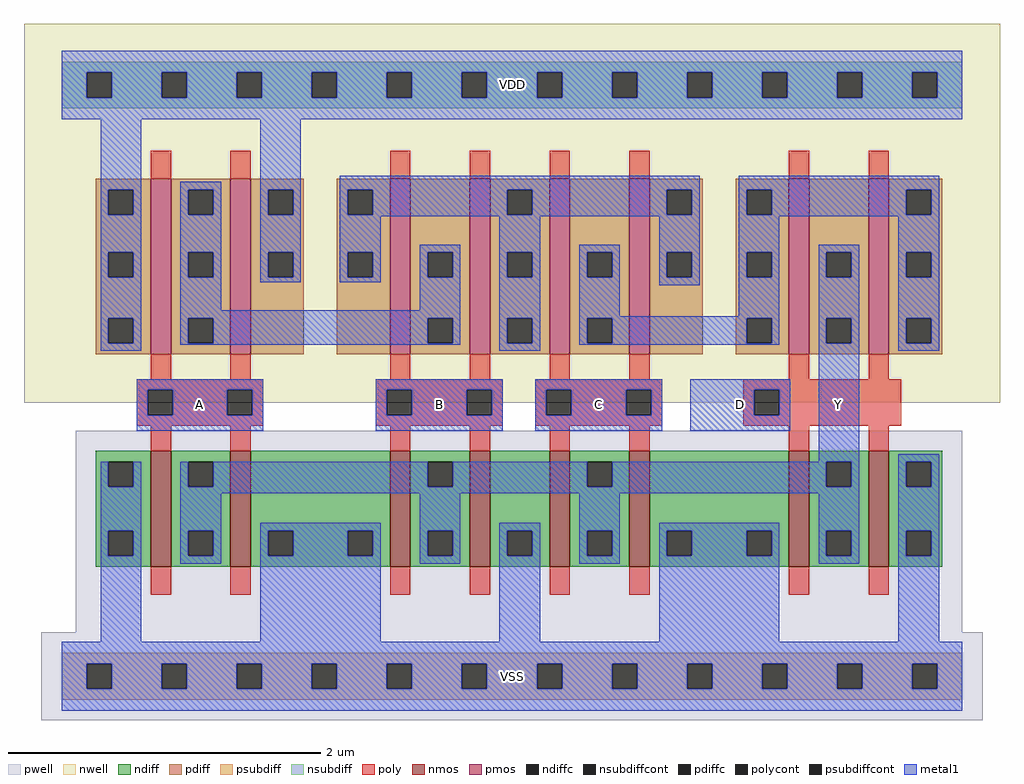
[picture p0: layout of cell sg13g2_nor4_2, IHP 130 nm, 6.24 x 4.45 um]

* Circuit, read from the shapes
.subckt sg13g2_nor4_2 D B C Y VDD VSS A
XM1 Y A VSS VSS sg13_lv_nmos w=0.74u l=0.13u m=2
XM2 Y B VSS VSS sg13_lv_nmos w=0.74u l=0.13u m=2
XM3 Y C VSS VSS sg13_lv_nmos w=0.74u l=0.13u m=2
XM4 Y D VSS VSS sg13_lv_nmos w=0.74u l=0.13u m=2
XM5 n1 A VDD VDD sg13_lv_pmos w=1.12u l=0.13u m=2
XM6 n1 B n2 VDD sg13_lv_pmos w=1.12u l=0.13u m=2
XM7 n3 C n2 VDD sg13_lv_pmos w=1.12u l=0.13u m=2
XM8 Y D n3 VDD sg13_lv_pmos w=1.12u l=0.13u m=2
.ends

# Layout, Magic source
magic
tech ihp-sg13g2
<< nwell >>
rect -24 175 600 417
<< pwell >>
rect 9 28 576 157
rect -13 -28 589 28
<< nmos >>
rect 57 70 70 144
rect 108 70 121 144
rect 210 70 223 144
rect 261 70 274 144
rect 312 70 325 144
rect 363 70 376 144
rect 465 70 478 144
rect 516 70 529 144
<< pmos >>
rect 57 206 70 318
rect 108 206 121 318
rect 210 206 223 318
rect 261 206 274 318
rect 312 206 325 318
rect 363 206 376 318
rect 465 206 478 318
rect 516 206 529 318
<< ndiff >>
rect 22 137 57 144
rect 22 121 30 137
rect 46 121 57 137
rect 22 93 57 121
rect 22 77 30 93
rect 46 77 57 93
rect 22 70 57 77
rect 70 137 108 144
rect 70 121 81 137
rect 97 121 108 137
rect 70 93 108 121
rect 70 77 81 93
rect 97 77 108 93
rect 70 70 108 77
rect 121 93 210 144
rect 121 77 132 93
rect 148 77 183 93
rect 199 77 210 93
rect 121 70 210 77
rect 223 137 261 144
rect 223 121 234 137
rect 250 121 261 137
rect 223 93 261 121
rect 223 77 234 93
rect 250 77 261 93
rect 223 70 261 77
rect 274 93 312 144
rect 274 77 285 93
rect 301 77 312 93
rect 274 70 312 77
rect 325 137 363 144
rect 325 121 336 137
rect 352 121 363 137
rect 325 93 363 121
rect 325 77 336 93
rect 352 77 363 93
rect 325 70 363 77
rect 376 93 465 144
rect 376 77 387 93
rect 403 77 438 93
rect 454 77 465 93
rect 376 70 465 77
rect 478 137 516 144
rect 478 121 489 137
rect 505 121 516 137
rect 478 93 516 121
rect 478 77 489 93
rect 505 77 516 93
rect 478 70 516 77
rect 529 137 563 144
rect 529 121 540 137
rect 556 121 563 137
rect 529 93 563 121
rect 529 77 540 93
rect 556 77 563 93
rect 529 70 563 77
<< pdiff >>
rect 22 311 57 318
rect 22 295 30 311
rect 46 295 57 311
rect 22 271 57 295
rect 22 255 30 271
rect 46 255 57 271
rect 22 229 57 255
rect 22 213 30 229
rect 46 213 57 229
rect 22 206 57 213
rect 70 311 108 318
rect 70 295 81 311
rect 97 295 108 311
rect 70 271 108 295
rect 70 255 81 271
rect 97 255 108 271
rect 70 229 108 255
rect 70 213 81 229
rect 97 213 108 229
rect 70 206 108 213
rect 121 311 155 318
rect 121 295 132 311
rect 148 295 155 311
rect 121 271 155 295
rect 121 255 132 271
rect 148 255 155 271
rect 121 206 155 255
rect 176 311 210 318
rect 176 295 183 311
rect 199 295 210 311
rect 176 271 210 295
rect 176 255 183 271
rect 199 255 210 271
rect 176 206 210 255
rect 223 271 261 318
rect 223 255 234 271
rect 250 255 261 271
rect 223 229 261 255
rect 223 213 234 229
rect 250 213 261 229
rect 223 206 261 213
rect 274 311 312 318
rect 274 295 285 311
rect 301 295 312 311
rect 274 271 312 295
rect 274 255 285 271
rect 301 255 312 271
rect 274 229 312 255
rect 274 213 285 229
rect 301 213 312 229
rect 274 206 312 213
rect 325 271 363 318
rect 325 255 336 271
rect 352 255 363 271
rect 325 229 363 255
rect 325 213 336 229
rect 352 213 363 229
rect 325 206 363 213
rect 376 311 410 318
rect 376 295 387 311
rect 403 295 410 311
rect 376 271 410 295
rect 376 255 387 271
rect 403 255 410 271
rect 376 206 410 255
rect 431 311 465 318
rect 431 295 438 311
rect 454 295 465 311
rect 431 271 465 295
rect 431 255 438 271
rect 454 255 465 271
rect 431 229 465 255
rect 431 213 438 229
rect 454 213 465 229
rect 431 206 465 213
rect 478 271 516 318
rect 478 255 489 271
rect 505 255 516 271
rect 478 229 516 255
rect 478 213 489 229
rect 505 213 516 229
rect 478 206 516 213
rect 529 311 563 318
rect 529 295 540 311
rect 556 295 563 311
rect 529 271 563 295
rect 529 255 540 271
rect 556 255 563 271
rect 529 229 563 255
rect 529 213 540 229
rect 556 213 563 229
rect 529 206 563 213
<< ndiffc >>
rect 30 121 46 137
rect 30 77 46 93
rect 81 121 97 137
rect 81 77 97 93
rect 132 77 148 93
rect 183 77 199 93
rect 234 121 250 137
rect 234 77 250 93
rect 285 77 301 93
rect 336 121 352 137
rect 336 77 352 93
rect 387 77 403 93
rect 438 77 454 93
rect 489 121 505 137
rect 489 77 505 93
rect 540 121 556 137
rect 540 77 556 93
<< pdiffc >>
rect 30 295 46 311
rect 30 255 46 271
rect 30 213 46 229
rect 81 295 97 311
rect 81 255 97 271
rect 81 213 97 229
rect 132 295 148 311
rect 132 255 148 271
rect 183 295 199 311
rect 183 255 199 271
rect 234 255 250 271
rect 234 213 250 229
rect 285 295 301 311
rect 285 255 301 271
rect 285 213 301 229
rect 336 255 352 271
rect 336 213 352 229
rect 387 295 403 311
rect 387 255 403 271
rect 438 295 454 311
rect 438 255 454 271
rect 438 213 454 229
rect 489 255 505 271
rect 489 213 505 229
rect 540 295 556 311
rect 540 255 556 271
rect 540 213 556 229
<< psubdiff >>
rect 0 8 576 15
rect 0 -8 16 8
rect 32 -8 64 8
rect 80 -8 112 8
rect 128 -8 160 8
rect 176 -8 208 8
rect 224 -8 256 8
rect 272 -8 304 8
rect 320 -8 352 8
rect 368 -8 400 8
rect 416 -8 448 8
rect 464 -8 496 8
rect 512 -8 544 8
rect 560 -8 576 8
rect 0 -15 576 -8
<< nsubdiff >>
rect 0 386 576 393
rect 0 370 16 386
rect 32 370 64 386
rect 80 370 112 386
rect 128 370 160 386
rect 176 370 208 386
rect 224 370 256 386
rect 272 370 304 386
rect 320 370 352 386
rect 368 370 400 386
rect 416 370 448 386
rect 464 370 496 386
rect 512 370 544 386
rect 560 370 576 386
rect 0 363 576 370
<< psubdiffcont >>
rect 16 -8 32 8
rect 64 -8 80 8
rect 112 -8 128 8
rect 160 -8 176 8
rect 208 -8 224 8
rect 256 -8 272 8
rect 304 -8 320 8
rect 352 -8 368 8
rect 400 -8 416 8
rect 448 -8 464 8
rect 496 -8 512 8
rect 544 -8 560 8
<< nsubdiffcont >>
rect 16 370 32 386
rect 64 370 80 386
rect 112 370 128 386
rect 160 370 176 386
rect 208 370 224 386
rect 256 370 272 386
rect 304 370 320 386
rect 352 370 368 386
rect 400 370 416 386
rect 448 370 464 386
rect 496 370 512 386
rect 544 370 560 386
<< poly >>
rect 57 318 70 336
rect 108 318 121 336
rect 210 318 223 336
rect 261 318 274 336
rect 312 318 325 336
rect 363 318 376 336
rect 465 318 478 336
rect 516 318 529 336
rect 57 190 70 206
rect 108 190 121 206
rect 210 190 223 206
rect 261 190 274 206
rect 312 190 325 206
rect 363 190 376 206
rect 465 190 478 206
rect 516 190 529 206
rect 48 183 129 190
rect 48 167 55 183
rect 71 167 106 183
rect 122 167 129 183
rect 48 160 129 167
rect 201 183 282 190
rect 201 167 208 183
rect 224 167 259 183
rect 275 167 282 183
rect 201 160 282 167
rect 303 183 384 190
rect 303 167 310 183
rect 326 167 361 183
rect 377 167 384 183
rect 303 160 384 167
rect 436 183 537 190
rect 436 167 443 183
rect 459 167 537 183
rect 436 160 537 167
rect 57 144 70 160
rect 108 144 121 160
rect 210 144 223 160
rect 261 144 274 160
rect 312 144 325 160
rect 363 144 376 160
rect 465 144 478 160
rect 516 144 529 160
rect 57 52 70 70
rect 108 52 121 70
rect 210 52 223 70
rect 261 52 274 70
rect 312 52 325 70
rect 363 52 376 70
rect 465 52 478 70
rect 516 52 529 70
<< polycont >>
rect 55 167 71 183
rect 106 167 122 183
rect 208 167 224 183
rect 259 167 275 183
rect 310 167 326 183
rect 361 167 377 183
rect 443 167 459 183
<< metal1 >>
rect 0 386 576 400
rect 0 370 16 386
rect 32 370 64 386
rect 80 370 112 386
rect 128 370 160 386
rect 176 370 208 386
rect 224 370 256 386
rect 272 370 304 386
rect 320 370 352 386
rect 368 370 400 386
rect 416 370 448 386
rect 464 370 496 386
rect 512 370 544 386
rect 560 370 576 386
rect 0 356 576 370
rect 25 311 51 356
rect 25 295 30 311
rect 46 295 51 311
rect 25 271 51 295
rect 25 255 30 271
rect 46 255 51 271
rect 25 229 51 255
rect 25 213 30 229
rect 46 213 51 229
rect 25 208 51 213
rect 76 311 102 316
rect 76 295 81 311
rect 97 295 102 311
rect 76 271 102 295
rect 76 255 81 271
rect 97 255 102 271
rect 76 234 102 255
rect 127 311 153 356
rect 127 295 132 311
rect 148 295 153 311
rect 127 271 153 295
rect 127 255 132 271
rect 148 255 153 271
rect 127 252 153 255
rect 178 311 408 320
rect 178 295 183 311
rect 199 295 285 311
rect 301 295 387 311
rect 403 295 408 311
rect 178 294 408 295
rect 178 271 204 294
rect 178 255 183 271
rect 199 255 204 271
rect 178 252 204 255
rect 229 271 255 276
rect 229 255 234 271
rect 250 255 255 271
rect 229 234 255 255
rect 76 229 255 234
rect 76 213 81 229
rect 97 213 234 229
rect 250 213 255 229
rect 76 212 255 213
rect 280 271 306 294
rect 280 255 285 271
rect 301 255 306 271
rect 280 229 306 255
rect 280 213 285 229
rect 301 213 306 229
rect 280 208 306 213
rect 331 271 357 276
rect 331 255 336 271
rect 352 255 357 271
rect 331 230 357 255
rect 382 271 408 294
rect 382 255 387 271
rect 403 255 408 271
rect 382 250 408 255
rect 433 311 561 320
rect 433 295 438 311
rect 454 295 540 311
rect 556 295 561 311
rect 433 294 561 295
rect 433 271 459 294
rect 433 255 438 271
rect 454 255 459 271
rect 433 230 459 255
rect 331 229 459 230
rect 331 213 336 229
rect 352 213 438 229
rect 454 213 459 229
rect 331 212 459 213
rect 484 271 510 276
rect 484 255 489 271
rect 505 255 510 271
rect 484 229 510 255
rect 484 213 489 229
rect 505 213 510 229
rect 48 183 129 190
rect 48 167 55 183
rect 71 167 106 183
rect 122 167 129 183
rect 48 157 129 167
rect 201 183 282 190
rect 201 167 208 183
rect 224 167 259 183
rect 275 167 282 183
rect 201 157 282 167
rect 303 183 384 190
rect 303 167 310 183
rect 326 167 361 183
rect 377 167 384 183
rect 303 157 384 167
rect 402 183 466 190
rect 402 167 443 183
rect 459 167 466 183
rect 402 157 466 167
rect 484 137 510 213
rect 535 271 561 294
rect 535 255 540 271
rect 556 255 561 271
rect 535 229 561 255
rect 535 213 540 229
rect 556 213 561 229
rect 535 208 561 213
rect 25 121 30 137
rect 46 121 51 137
rect 25 93 51 121
rect 25 77 30 93
rect 46 77 51 93
rect 25 22 51 77
rect 76 121 81 137
rect 97 121 234 137
rect 250 121 336 137
rect 352 121 489 137
rect 505 121 510 137
rect 76 117 510 121
rect 76 93 102 117
rect 76 77 81 93
rect 97 77 102 93
rect 76 72 102 77
rect 127 93 204 98
rect 127 77 132 93
rect 148 77 183 93
rect 199 77 204 93
rect 127 22 204 77
rect 229 93 255 117
rect 229 77 234 93
rect 250 77 255 93
rect 229 72 255 77
rect 280 93 306 98
rect 280 77 285 93
rect 301 77 306 93
rect 280 22 306 77
rect 331 93 357 117
rect 331 77 336 93
rect 352 77 357 93
rect 331 72 357 77
rect 382 93 459 98
rect 382 77 387 93
rect 403 77 438 93
rect 454 77 459 93
rect 382 22 459 77
rect 484 93 510 117
rect 484 77 489 93
rect 505 77 510 93
rect 484 72 510 77
rect 535 137 561 142
rect 535 121 540 137
rect 556 121 561 137
rect 535 93 561 121
rect 535 77 540 93
rect 556 77 561 93
rect 535 22 561 77
rect 0 8 576 22
rect 0 -8 16 8
rect 32 -8 64 8
rect 80 -8 112 8
rect 128 -8 160 8
rect 176 -8 208 8
rect 224 -8 256 8
rect 272 -8 304 8
rect 320 -8 352 8
rect 368 -8 400 8
rect 416 -8 448 8
rect 464 -8 496 8
rect 512 -8 544 8
rect 560 -8 576 8
rect 0 -22 576 -8
<< labels >>
flabel metal1 s 484 72 510 276 0 FreeSans 250 0 0 0 Y
port 4 nsew
flabel metal1 s 402 158 466 190 0 FreeSans 250 0 0 0 D
port 1 nsew
flabel metal1 s 0 356 576 400 0 FreeSans 250 0 0 0 VDD
port 5 nsew
flabel metal1 s 201 158 282 190 0 FreeSans 250 0 0 0 B
port 2 nsew
flabel metal1 s 48 158 129 190 0 FreeSans 250 0 0 0 A
port 7 nsew
flabel metal1 s 0 -22 576 22 0 FreeSans 250 0 0 0 VSS
port 6 nsew
flabel metal1 s 303 158 384 190 0 FreeSans 250 0 0 0 C
port 3 nsew
<< properties >>
string FIXED_BBOX 0 0 576 378
string GDS_END 244964
string GDS_FILE ../gds/controller.gds
string GDS_START 236706
<< end >>
